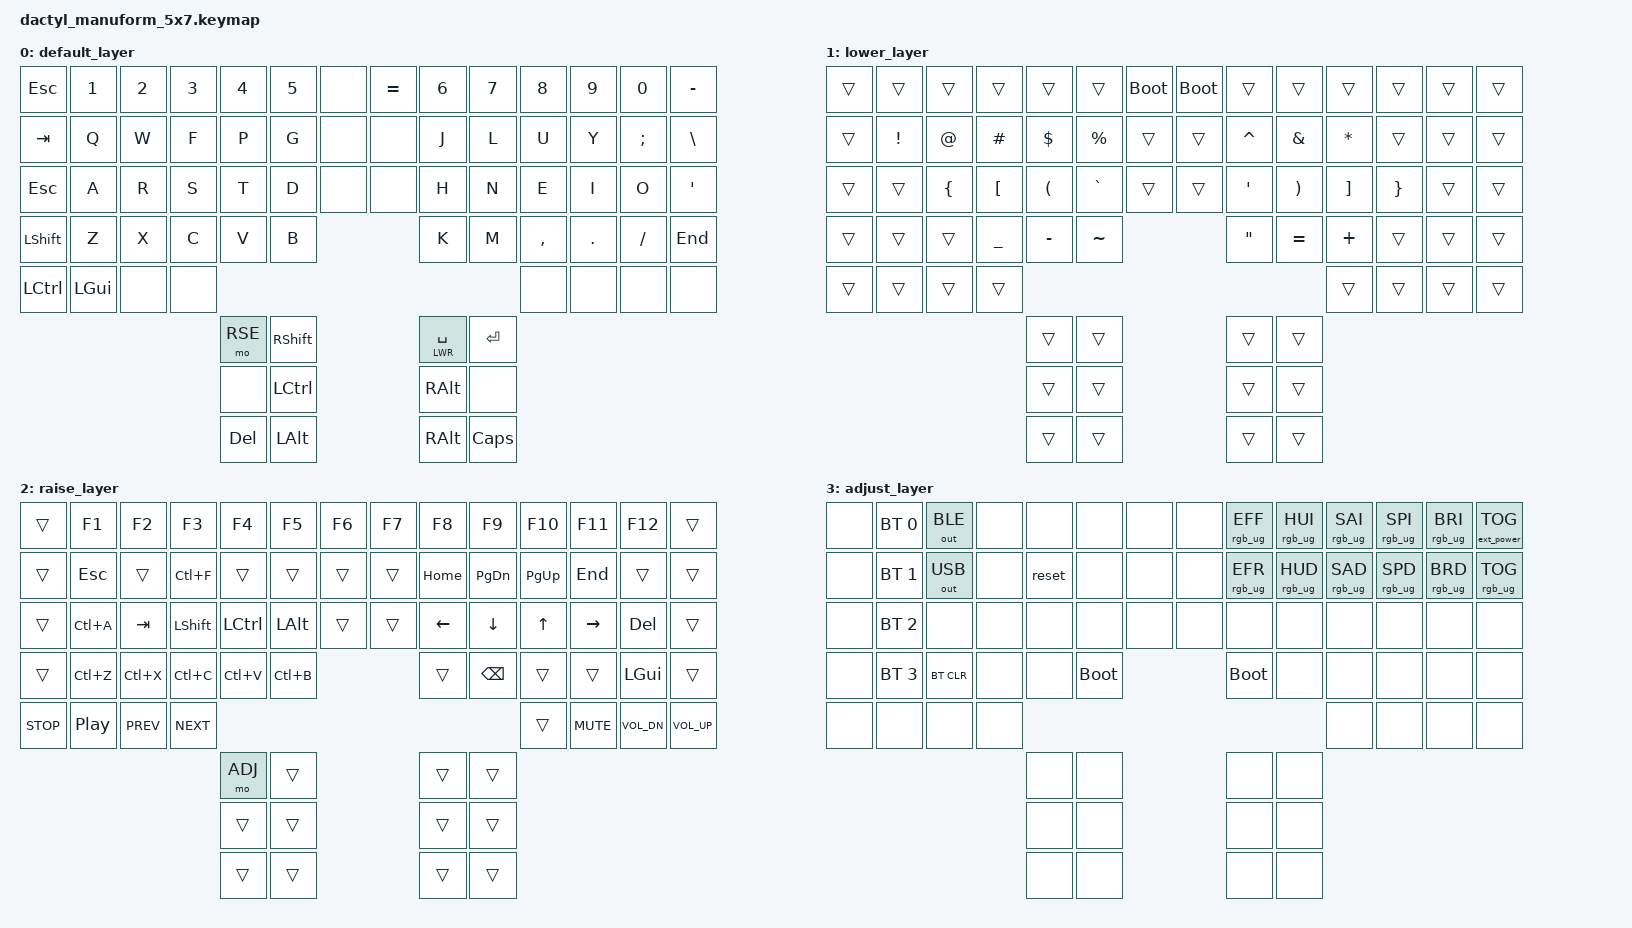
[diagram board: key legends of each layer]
#include <behaviors.dtsi>
#include <dt-bindings/zmk/keys.h>
#include <dt-bindings/zmk/bt.h>
#include <dt-bindings/zmk/rgb.h>
#include <dt-bindings/zmk/ext_power.h>
#include <dt-bindings/zmk/outputs.h>

#define DEFAULT 0
#define LWR 1
#define RSE 2
#define ADJ 3

/ {
    behaviors {
        pht: positional_hold_tap {
            compatible = "zmk,behavior-hold-tap";
            label = "POSITIONAL_HOLD_TAP";
            #binding-cells = <2>;
            flavor = "hold-preferred";
            tapping-term-ms = <200>;
            quick-tap-ms = <200>;
            bindings = <&kp>, <&kp>;
        };
    };
    keymap {
        compatible = "zmk,keymap";

        default_layer {
            bindings = <
                &kp ESC   &kp N1   &kp N2 &kp N3    &kp N4      &kp N5 &none        &kp EQUAL   &kp N6          &kp N7      &kp N8    &kp N9    &kp N0    &kp MINUS
                &kp TAB   &kp Q    &kp W  &kp F     &kp P       &kp G  &none        &none       &kp J           &kp L       &kp U     &kp Y     &kp SEMI  &kp BSLH
                &kp ESC   &kp A    &kp R  &kp S     &kp T       &kp D  &none        &none       &kp H           &kp N       &kp E     &kp I     &kp O     &kp SINGLE_QUOTE
                &kp LSHFT &kp Z    &kp X  &kp C     &kp V       &kp B                           &kp K           &kp M       &kp COMMA &kp DOT   &kp SLASH &kp END
                &kp LCTRL &kp LGUI &none  &none                                                                             &none     &none     &none     &none
                                                    &mo RSE     &kp RSHFT                       &lt LWR SPACE   &kp ENTER
                                                    &none       &kp LCTRL                       &kp RALT        &none
                                                    &kp DELETE  &kp LALT                        &kp RALT        &kp CAPS
            >;
        };

        lower_layer {
            bindings = <
                &trans  &trans          &trans       &trans     &trans      &trans      &bootloader         &bootloader     &trans          &trans          &trans          &trans      &trans      &trans
                &trans  &kp EXCLAMATION &kp AT_SIGN  &kp HASH   &kp DOLLAR  &kp PERCENT &trans              &trans          &kp CARET       &kp AMPERSAND   &kp ASTERISK    &trans      &trans      &trans   
                &trans  &trans          &kp LBRC     &kp LBKT   &kp LPAR    &kp GRAVE   &trans              &trans          &kp APOS        &kp RPAR        &kp RBKT        &kp RBRC    &trans      &trans
                &trans  &trans          &trans       &kp UNDER  &kp MINUS   &kp TILDE                                       &kp DQT         &kp EQUAL       &kp PLUS        &trans      &trans      &trans
                &trans  &trans          &trans       &trans                                                                                                 &trans          &trans      &trans      &trans
                                                                &trans      &trans                                                          &trans          &trans
                                                                &trans      &trans                                                          &trans          &trans
                                                                &trans      &trans                                                          &trans          &trans
            >;
        };

        raise_layer {
            bindings = <
            &trans      &kp F1              &kp F2      &kp F3      &kp F4      &kp F5      &kp F6              &kp F7  &kp F8      &kp F9      &kp F10     &kp F11         &kp F12         &trans
            &trans      &kp ESC             &trans      &kp LC(F)   &trans      &trans      &trans              &trans  &kp HOME    &kp PG_DN   &kp PG_UP   &kp END         &trans          &trans
            &trans      &kp LC(A)           &kp TAB     &kp LSHFT   &kp LCTRL   &kp LALT    &trans              &trans  &kp LEFT    &kp DOWN    &kp UP      &kp RIGHT       &kp DEL         &trans
            &trans      &kp LC(Z)           &kp LC(X)   &kp LC(C)   &kp LC(V)   &kp LC(B)                               &trans      &kp BSPC    &trans      &trans          &kp LGUI        &trans
            &kp C_STOP  &kp C_PLAY_PAUSE    &kp C_PREV  &kp C_NEXT                                                                              &trans      &kp C_MUTE      &kp C_VOL_DN    &kp C_VOL_UP
                                                                    &mo ADJ     &trans                                  &trans      &trans
                                                                    &trans      &trans                                  &trans      &trans
                                                                    &trans      &trans                                  &trans      &trans
            >;
        };

        adjust_layer {
            bindings = <
                &none &bt BT_SEL 0 &out OUT_BLE &none &none  &none &none        &none &rgb_ug RGB_EFF &rgb_ug RGB_HUI &rgb_ug RGB_SAI &rgb_ug RGB_SPI &rgb_ug RGB_BRI &ext_power EP_TOG
                &none &bt BT_SEL 1 &out OUT_USB &none &reset &none &none        &none &rgb_ug RGB_EFR &rgb_ug RGB_HUD &rgb_ug RGB_SAD &rgb_ug RGB_SPD &rgb_ug RGB_BRD &rgb_ug RGB_TOG
                &none &bt BT_SEL 2 &none        &none &none  &none &none        &none &none           &none           &none           &none           &none           &none 
                &none &bt BT_SEL 3 &bt BT_CLR   &none &none  &bootloader              &bootloader     &none           &none           &none           &none           &none
                &none &none        &none        &none                                                                 &none           &none           &none           &none
                                                            &none &none                      &none &none
                                                                  &none &none          &none &none
                                                                  &none &none          &none &none
            >;
        };
    };
};
